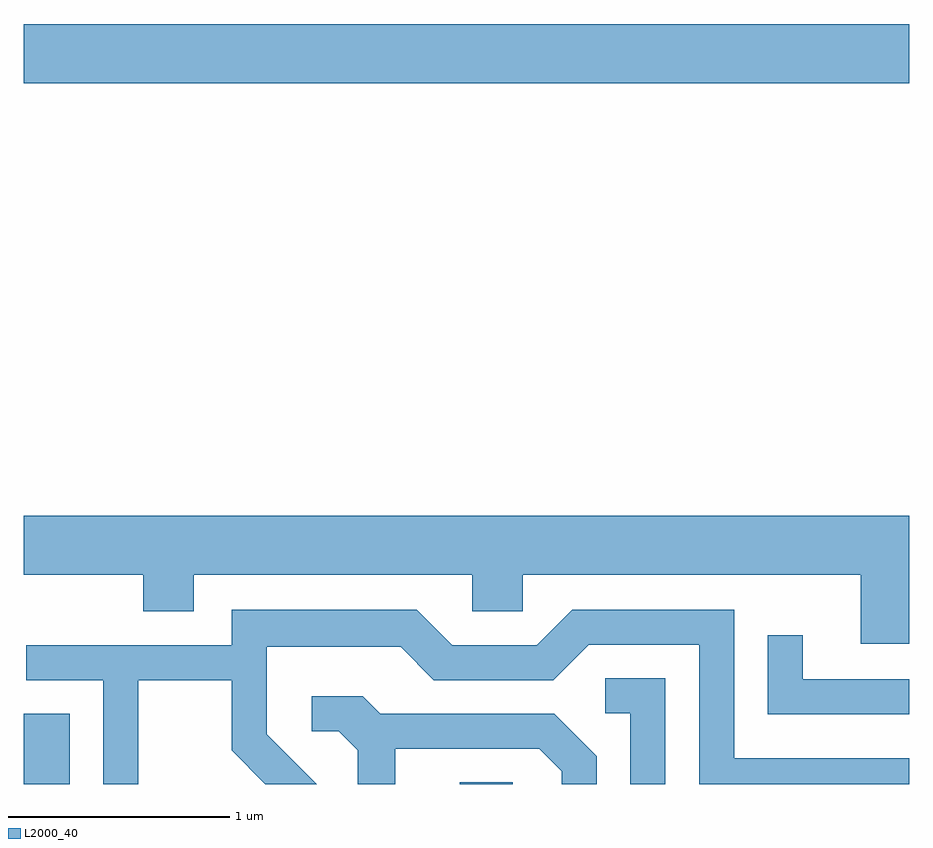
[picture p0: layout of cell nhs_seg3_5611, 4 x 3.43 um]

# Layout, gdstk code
import gdstk
lib = gdstk.Library(unit=1e-6, precision=1e-09)
def R(c, l, rs):  # rectangles x0, y0, x1, y1
    for r in rs: c.add(gdstk.rectangle(r[:2], r[2:], *l))
def P(c, l, *ps):  # polygons
    for p in ps: c.add(gdstk.Polygon(p, *l))
L2000_40 = (2000, 40)

nhs_seg3_5611 = lib.new_cell('nhs_seg3_5611')
R(nhs_seg3_5611, L2000_40, [(349.611,1193.892,349.819,1194.209), (351.581,1193.892,351.819,1193.899), (349.611,1197.056,353.611,1197.324)])
P(nhs_seg3_5611, L2000_40, [(353.611,1195.104),(349.611,1195.104),(349.611,1194.836),(350.151,1194.836),(350.151,1194.671),(350.379,1194.671),(350.379,1194.836),(351.636,1194.836),(351.636,1194.671),(351.864,1194.671),(351.864,1194.836),(353.391,1194.836),(353.391,1194.526),(353.611,1194.526)],
  [(350.129,1194.361),(350.551,1194.361),(350.551,1194.044),(350.703,1193.892),(350.934,1193.892),(350.709,1194.117),(350.709,1194.511),(351.314,1194.511),(351.464,1194.361),(352.002,1194.361),(352.162,1194.521),(352.661,1194.521),(352.661,1193.892),(353.611,1193.892),(353.611,1194.009),(352.819,1194.009),(352.819,1194.679),(352.089,1194.679),(351.929,1194.519),(351.547,1194.519),(351.387,1194.679),(350.551,1194.679),(350.551,1194.519),(349.623,1194.519),(349.623,1194.361),(349.971,1194.361),(349.971,1193.892),(350.129,1193.892)],
  [(353.611,1194.364),(353.129,1194.364),(353.129,1194.563),(352.971,1194.563),(352.971,1194.206),(353.611,1194.206)],
  [(352.509,1194.369),(352.238,1194.369),(352.238,1194.211),(352.351,1194.211),(352.351,1193.892),(352.509,1193.892)],
  [(351.289,1194.051),(351.939,1194.051),(352.041,1193.949),(352.041,1193.892),(352.199,1193.892),(352.199,1194.017),(352.007,1194.209),(351.222,1194.209),(351.142,1194.289),(350.913,1194.289),(350.913,1194.131),(351.034,1194.131),(351.121,1194.044),(351.121,1193.892),(351.289,1193.892)])

lib.write_gds('nhs_seg3_5611.gds')
